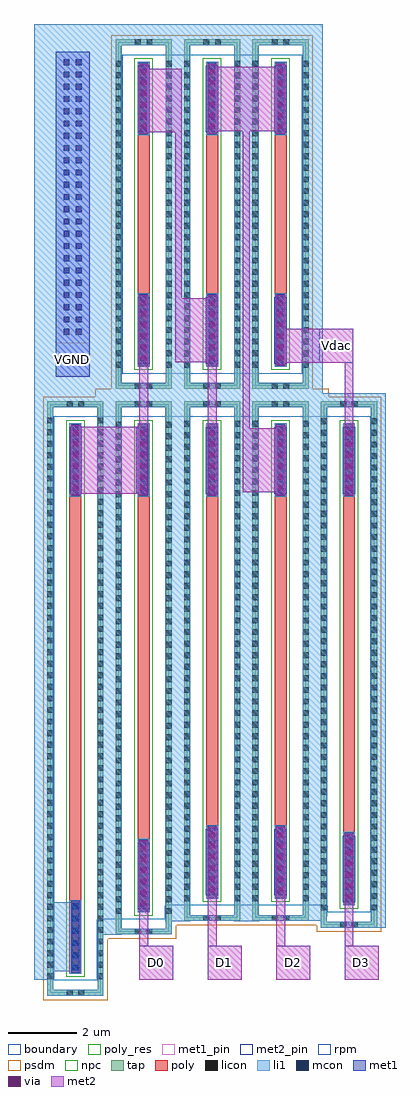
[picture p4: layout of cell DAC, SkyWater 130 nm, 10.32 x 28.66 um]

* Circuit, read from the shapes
.subckt DAC D0 D1 D2 D3 VGND Vdac
XR1 n1 VGND VGND sky130_fd_pr__res_high_po w=0.35 l=11.88
XR2 n1 D0 VGND sky130_fd_pr__res_high_po w=0.35 l=10.08
XR3 n2 n1 VGND sky130_fd_pr__res_high_po w=0.35 l=4.68
XR4 n2 D1 VGND sky130_fd_pr__res_high_po w=0.35 l=9.68
XR5 n3 n2 VGND sky130_fd_pr__res_high_po w=0.35 l=4.68
XR6 n3 D2 VGND sky130_fd_pr__res_high_po w=0.35 l=9.68
XR7 n3 Vdac VGND sky130_fd_pr__res_high_po w=0.35 l=4.68
XR8 Vdac D3 VGND sky130_fd_pr__res_high_po w=0.35 l=9.88
.ends

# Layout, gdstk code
import gdstk
lib = gdstk.Library(unit=1e-6, precision=1e-09)
def R(c, l, rs):  # rectangles x0, y0, x1, y1
    for r in rs: c.add(gdstk.rectangle(r[:2], r[2:], *l))
def A(c, l, x, y, w, h, nx, ny, dx, dy):  # array of equal rectangles
    R(c, l, [(x+i*dx, y+j*dy, x+i*dx+w, y+j*dy+h) for i in range(nx) for j in range(ny)])
tap = (65, 44)
poly_res = (66, 13)
poly = (66, 20)
licon = (66, 44)
li1 = (67, 20)
mcon = (67, 44)
met1_pin = (68, 16)
met1 = (68, 20)
via = (68, 44)
met2_pin = (69, 16)
met2 = (69, 20)
rpm = (86, 20)
psdm = (94, 20)
npc = (95, 20)
boundary = (235, 4)

sky130_fd_pr__res_high_p = lib.new_cell('sky130_fd_pr__res_high_po_0p35_AT4384')
R(sky130_fd_pr__res_high_p, tap, [(-0.825,-8.73,0.825,-8.56), (-0.825,-8.56,-0.655,8.56), (0.655,-8.56,0.825,8.56), (-0.825,8.56,0.825,8.73)])
R(sky130_fd_pr__res_high_p, poly_res, [(-0.175,-6,0.175,6)])
R(sky130_fd_pr__res_high_p, poly, [(-0.175,-8.08,0.175,8.08)])
A(sky130_fd_pr__res_high_p, licon, -0.825, -8.245, 0.17, 0.17, 1, 49, 0, 0.34)
A(sky130_fd_pr__res_high_p, licon, 0.655, -8.245, 0.17, 0.17, 1, 49, 0, 0.34)
R(sky130_fd_pr__res_high_p, licon, [(-0.255,-8.73,-0.085,-8.56), (0.085,-8.73,0.255,-8.56), (-0.095,-8,0.095,-6), (-0.095,6,0.095,8), (-0.255,8.56,-0.085,8.73), (0.085,8.56,0.255,8.73)])
R(sky130_fd_pr__res_high_p, li1, [(-0.825,-8.73,0.825,-8.56), (-0.825,-8.56,-0.655,8.56), (0.655,-8.56,0.825,8.56), (-0.175,-8.08,0.175,-5.92), (-0.175,5.92,0.175,8.08), (-0.825,8.56,0.825,8.73)])
A(sky130_fd_pr__res_high_p, mcon, -0.085, -7.985, 0.17, 0.17, 1, 6, 0, 0.36)
A(sky130_fd_pr__res_high_p, mcon, -0.085, 6.01, 0.17, 0.17, 1, 6, 0, 0.36)
R(sky130_fd_pr__res_high_p, met1, [(-0.125,-8.05,0.125,-5.945), (-0.125,5.945,0.125,8.05)])
R(sky130_fd_pr__res_high_p, rpm, [(-0.635,-8.28,0.635,8.28)])
R(sky130_fd_pr__res_high_p, psdm, [(-0.95,-8.855,0.95,8.855)])
R(sky130_fd_pr__res_high_p, npc, [(-0.27,-8.175,0.27,8.175)])
R(sky130_fd_pr__res_high_p, boundary, [(-0.74,-8.645,0.74,8.645)])

c_sky130_fd_pr__res_high_p = lib.new_cell('sky130_fd_pr__res_high_po_0p35_Z689S7')
R(c_sky130_fd_pr__res_high_p, tap, [(-0.825,-5.13,0.825,-4.96), (-0.825,-4.96,-0.655,4.96), (0.655,-4.96,0.825,4.96), (-0.825,4.96,0.825,5.13)])
R(c_sky130_fd_pr__res_high_p, poly_res, [(-0.175,-2.4,0.175,2.4)])
R(c_sky130_fd_pr__res_high_p, poly, [(-0.175,-4.48,0.175,4.48)])
A(c_sky130_fd_pr__res_high_p, licon, -0.825, -4.505, 0.17, 0.17, 1, 27, 0, 0.34)
A(c_sky130_fd_pr__res_high_p, licon, 0.655, -4.505, 0.17, 0.17, 1, 27, 0, 0.34)
R(c_sky130_fd_pr__res_high_p, licon, [(-0.255,-5.13,-0.085,-4.96), (0.085,-5.13,0.255,-4.96), (-0.095,-4.4,0.095,-2.4), (-0.095,2.4,0.095,4.4), (-0.255,4.96,-0.085,5.13), (0.085,4.96,0.255,5.13)])
R(c_sky130_fd_pr__res_high_p, li1, [(-0.825,-5.13,0.825,-4.96), (-0.825,-4.96,-0.655,4.96), (0.655,-4.96,0.825,4.96), (-0.175,-4.48,0.175,-2.32), (-0.175,2.32,0.175,4.48), (-0.825,4.96,0.825,5.13)])
A(c_sky130_fd_pr__res_high_p, mcon, -0.085, -4.385, 0.17, 0.17, 1, 6, 0, 0.36)
A(c_sky130_fd_pr__res_high_p, mcon, -0.085, 2.41, 0.17, 0.17, 1, 6, 0, 0.36)
R(c_sky130_fd_pr__res_high_p, met1, [(-0.125,-4.45,0.125,-2.345), (-0.125,2.345,0.125,4.45)])
R(c_sky130_fd_pr__res_high_p, rpm, [(-0.635,-4.68,0.635,4.68)])
R(c_sky130_fd_pr__res_high_p, psdm, [(-0.95,-5.255,0.95,5.255)])
R(c_sky130_fd_pr__res_high_p, npc, [(-0.27,-4.575,0.27,4.575)])
R(c_sky130_fd_pr__res_high_p, boundary, [(-0.74,-5.045,0.74,5.045)])

c_sky130_fd_pr__res_high_p_ = lib.new_cell('sky130_fd_pr__res_high_po_0p35_V3ZUAZ')
R(c_sky130_fd_pr__res_high_p_, tap, [(-0.825,-7.83,0.825,-7.66), (-0.825,-7.66,-0.655,7.66), (0.655,-7.66,0.825,7.66), (-0.825,7.66,0.825,7.83)])
R(c_sky130_fd_pr__res_high_p_, poly_res, [(-0.175,-5.1,0.175,5.1)])
R(c_sky130_fd_pr__res_high_p_, poly, [(-0.175,-7.18,0.175,7.18)])
A(c_sky130_fd_pr__res_high_p_, licon, -0.825, -7.225, 0.17, 0.17, 1, 43, 0, 0.34)
A(c_sky130_fd_pr__res_high_p_, licon, 0.655, -7.225, 0.17, 0.17, 1, 43, 0, 0.34)
R(c_sky130_fd_pr__res_high_p_, licon, [(-0.255,-7.83,-0.085,-7.66), (0.085,-7.83,0.255,-7.66), (-0.095,-7.1,0.095,-5.1), (-0.095,5.1,0.095,7.1), (-0.255,7.66,-0.085,7.83), (0.085,7.66,0.255,7.83)])
R(c_sky130_fd_pr__res_high_p_, li1, [(-0.825,-7.83,0.825,-7.66), (-0.825,-7.66,-0.655,7.66), (0.655,-7.66,0.825,7.66), (-0.175,-7.18,0.175,-5.02), (-0.175,5.02,0.175,7.18), (-0.825,7.66,0.825,7.83)])
A(c_sky130_fd_pr__res_high_p_, mcon, -0.085, -7.085, 0.17, 0.17, 1, 6, 0, 0.36)
A(c_sky130_fd_pr__res_high_p_, mcon, -0.085, 5.11, 0.17, 0.17, 1, 6, 0, 0.36)
R(c_sky130_fd_pr__res_high_p_, met1, [(-0.125,-7.15,0.125,-5.045), (-0.125,5.045,0.125,7.15)])
R(c_sky130_fd_pr__res_high_p_, rpm, [(-0.635,-7.38,0.635,7.38)])
R(c_sky130_fd_pr__res_high_p_, psdm, [(-0.95,-7.955,0.95,7.955)])
R(c_sky130_fd_pr__res_high_p_, npc, [(-0.27,-7.275,0.27,7.275)])
R(c_sky130_fd_pr__res_high_p_, boundary, [(-0.74,-7.745,0.74,7.745)])

c_sky130_fd_pr__res_high_p__ = lib.new_cell('sky130_fd_pr__res_high_po_0p35_GHF3PF')
R(c_sky130_fd_pr__res_high_p__, tap, [(-0.825,-7.63,0.825,-7.46), (-0.825,-7.46,-0.655,7.46), (0.655,-7.46,0.825,7.46), (-0.825,7.46,0.825,7.63)])
R(c_sky130_fd_pr__res_high_p__, poly_res, [(-0.175,-4.9,0.175,4.9)])
R(c_sky130_fd_pr__res_high_p__, poly, [(-0.175,-6.98,0.175,6.98)])
A(c_sky130_fd_pr__res_high_p__, licon, -0.825, -7.055, 0.17, 0.17, 1, 42, 0, 0.34)
A(c_sky130_fd_pr__res_high_p__, licon, 0.655, -7.055, 0.17, 0.17, 1, 42, 0, 0.34)
R(c_sky130_fd_pr__res_high_p__, licon, [(-0.255,-7.63,-0.085,-7.46), (0.085,-7.63,0.255,-7.46), (-0.095,-6.9,0.095,-4.9), (-0.095,4.9,0.095,6.9), (-0.255,7.46,-0.085,7.63), (0.085,7.46,0.255,7.63)])
R(c_sky130_fd_pr__res_high_p__, li1, [(-0.825,-7.63,0.825,-7.46), (-0.825,-7.46,-0.655,7.46), (0.655,-7.46,0.825,7.46), (-0.175,-6.98,0.175,-4.82), (-0.175,4.82,0.175,6.98), (-0.825,7.46,0.825,7.63)])
A(c_sky130_fd_pr__res_high_p__, mcon, -0.085, -6.885, 0.17, 0.17, 1, 6, 0, 0.36)
A(c_sky130_fd_pr__res_high_p__, mcon, -0.085, 4.91, 0.17, 0.17, 1, 6, 0, 0.36)
R(c_sky130_fd_pr__res_high_p__, met1, [(-0.125,-6.95,0.125,-4.845), (-0.125,4.845,0.125,6.95)])
R(c_sky130_fd_pr__res_high_p__, rpm, [(-0.635,-7.18,0.635,7.18)])
R(c_sky130_fd_pr__res_high_p__, psdm, [(-0.95,-7.755,0.95,7.755)])
R(c_sky130_fd_pr__res_high_p__, npc, [(-0.27,-7.075,0.27,7.075)])
R(c_sky130_fd_pr__res_high_p__, boundary, [(-0.74,-7.545,0.74,7.545)])

c_sky130_fd_pr__res_high_p___ = lib.new_cell('sky130_fd_pr__res_high_po_0p35_FFK5MY')
R(c_sky130_fd_pr__res_high_p___, tap, [(-0.825,-7.73,0.825,-7.56), (-0.825,-7.56,-0.655,7.56), (0.655,-7.56,0.825,7.56), (-0.825,7.56,0.825,7.73)])
R(c_sky130_fd_pr__res_high_p___, poly_res, [(-0.175,-5,0.175,5)])
R(c_sky130_fd_pr__res_high_p___, poly, [(-0.175,-7.08,0.175,7.08)])
A(c_sky130_fd_pr__res_high_p___, licon, -0.825, -7.225, 0.17, 0.17, 1, 43, 0, 0.34)
A(c_sky130_fd_pr__res_high_p___, licon, 0.655, -7.225, 0.17, 0.17, 1, 43, 0, 0.34)
R(c_sky130_fd_pr__res_high_p___, licon, [(-0.255,-7.73,-0.085,-7.56), (0.085,-7.73,0.255,-7.56), (-0.095,-7,0.095,-5), (-0.095,5,0.095,7), (-0.255,7.56,-0.085,7.73), (0.085,7.56,0.255,7.73)])
R(c_sky130_fd_pr__res_high_p___, li1, [(-0.825,-7.73,0.825,-7.56), (-0.825,-7.56,-0.655,7.56), (0.655,-7.56,0.825,7.56), (-0.175,-7.08,0.175,-4.92), (-0.175,4.92,0.175,7.08), (-0.825,7.56,0.825,7.73)])
A(c_sky130_fd_pr__res_high_p___, mcon, -0.085, -6.985, 0.17, 0.17, 1, 6, 0, 0.36)
A(c_sky130_fd_pr__res_high_p___, mcon, -0.085, 5.01, 0.17, 0.17, 1, 6, 0, 0.36)
R(c_sky130_fd_pr__res_high_p___, met1, [(-0.125,-7.05,0.125,-4.945), (-0.125,4.945,0.125,7.05)])
R(c_sky130_fd_pr__res_high_p___, rpm, [(-0.635,-7.28,0.635,7.28)])
R(c_sky130_fd_pr__res_high_p___, psdm, [(-0.95,-7.855,0.95,7.855)])
R(c_sky130_fd_pr__res_high_p___, npc, [(-0.27,-7.175,0.27,7.175)])
R(c_sky130_fd_pr__res_high_p___, boundary, [(-0.74,-7.645,0.74,7.645)])

dac = lib.new_cell('DAC')
R(dac, li1, [(-7.225,-10.38,-6.66,-10.13), (-7.225,-10.13,-5.885,-8.105), (-5.375,-9.06,-4.655,6.43), (2.665,-8.855,3.1,6.43), (-3.375,-8.66,-2.645,6.43), (-1.355,-8.66,-0.635,6.43), (0.66,-8.655,1.365,-8.51), (0.66,-8.51,1.375,6.43), (-7.225,-8.105,-6.66,6.43), (-7.225,6.43,3.1,6.455), (-7.225,6.455,3.095,6.84), (-7.225,6.84,1.255,7.15), (-7.225,7.15,-4.655,17.055), (-3.365,7.15,-2.645,17.055), (-1.355,7.15,-0.635,17.055), (0.66,7.15,1.255,17.055), (-7.225,17.055,1.255,17.12), (-7.225,17.12,1.25,17.685)])
A(dac, mcon, -6.36, 8.56, 0.17, 0.17, 1, 23, 0, 0.36)
A(dac, mcon, -6, 8.56, 0.17, 0.17, 1, 23, 0, 0.36)
R(dac, met1_pin, [(-6.595,7.33,-5.595,8.33)])
A(dac, met1, -2.18, 3.89, 0.36, 1.95, 3, 1, 2.01, 0)
A(dac, met1, -4.19, 7.715, 0.36, 1.95, 3, 2, 2.01, 6.795)
R(dac, met1, [(-4.19,-8.305,-3.83,-6.355), (1.84,-8.105,2.2,-6.155), (-2.18,-7.905,-1.82,-5.955), (-0.17,-7.905,0.19,-5.955), (-6.185,3.9,-5.825,5.85), (-4.235,3.9,-3.875,5.85), (-6.595,7.33,-5.595,16.865)])
A(dac, via, -4.085, -8.205, 0.15, 0.15, 1, 6, 0, 0.32)
A(dac, via, 1.945, -8.005, 0.15, 0.15, 1, 6, 0, 0.32)
A(dac, via, -2.075, -7.805, 0.15, 0.15, 1, 6, 0, 0.32)
A(dac, via, -0.065, -7.805, 0.15, 0.15, 1, 6, 0, 0.32)
A(dac, via, -2.075, 3.99, 0.15, 0.15, 3, 6, 2.01, 0.32)
A(dac, via, -6.08, 4, 0.15, 0.15, 1, 6, 0, 0.32)
A(dac, via, -4.13, 4, 0.15, 0.15, 1, 6, 0, 0.32)
A(dac, via, -4.085, 7.815, 0.15, 0.15, 3, 6, 2.01, 0.32)
A(dac, via, -4.085, 14.61, 0.15, 0.15, 3, 6, 2.01, 0.32)
A(dac, met2_pin, -4.14, -10.38, 1, 1, 4, 1, 2.01, 0)
R(dac, met2_pin, [(1.15,7.735,2.15,8.735)])
A(dac, met2, -4.14, -10.38, 1, 1, 4, 1, 2.01, 0)
R(dac, met2, [(-4.14,-9.38,-3.88,-6.305), (-2.13,-9.38,-1.87,-5.905), (-0.12,-9.38,0.145,-7.905), (1.89,-9.38,2.15,-6.105), (-0.12,-7.905,0.14,-5.905), (-2.13,3.84,-1.87,7.755), (-0.12,3.84,0.14,3.94), (1.89,3.84,2.15,7.735), (-6.135,3.85,-5.875,3.89), (-4.185,3.85,-3.925,3.89), (-6.145,3.89,-3.91,5.85), (-1.095,3.94,0.14,5.81), (-1.095,5.81,-0.895,14.54), (-0.12,5.81,0.14,5.89), (-6.145,5.85,-3.88,5.86), (-6.135,5.86,-5.875,5.9), (-4.185,5.86,-3.88,5.9), (-4.14,5.9,-3.88,9.715), (-0.12,7.665,0.14,7.735), (-0.12,7.735,2.15,8.735), (-3.09,7.755,-1.87,9.625), (-0.12,8.735,0.14,9.715), (-3.09,9.625,-2.89,14.505), (-2.13,9.625,-1.87,9.715), (-4.14,14.46,-3.88,14.505), (-2.13,14.46,-1.87,14.54), (-0.12,14.46,0.14,14.54), (-4.14,14.505,-2.89,16.375), (-2.13,14.54,0.14,16.425), (-4.14,16.375,-3.88,16.51), (-2.13,16.425,-1.87,16.51), (-0.12,16.425,0.14,16.51)])
A(dac, rpm, -3.375, -8.2, 0.74, 14.36, 3, 1, 2.01, 0)
R(dac, rpm, [(-5.38,-8.6,-4.645,6.16), (-3.375,7.42,-2.635,16.78), (-1.365,7.42,-0.625,16.78)])
A(dac, psdm, -3.06, -8.775, 0.11, 15.51, 3, 1, 2.01, 0)
R(dac, psdm, [(-5.065,-9.175,-4.96,6.735), (-5.425,6.735,1.43,6.845), (-5.425,6.845,-4.96,6.98), (-3.06,6.845,-2.95,17.355), (-1.05,6.845,-0.94,17.355), (0.96,6.845,1.43,6.98)])
dac.add(gdstk.Reference(sky130_fd_pr__res_high_p, (-6.015,-2.12)))
dac.add(gdstk.Reference(c_sky130_fd_pr__res_high_p, (-2,12.1)))
dac.add(gdstk.Reference(c_sky130_fd_pr__res_high_p, (0.01,12.1)))
dac.add(gdstk.Reference(c_sky130_fd_pr__res_high_p_, (-4.01,-1.22)))
dac.add(gdstk.Reference(c_sky130_fd_pr__res_high_p__, (-2,-1.02)))
dac.add(gdstk.Reference(c_sky130_fd_pr__res_high_p__, (0.01,-1.02)))
dac.add(gdstk.Reference(c_sky130_fd_pr__res_high_p___, (2.02,-1.12)))
dac.add(gdstk.Reference(c_sky130_fd_pr__res_high_p, (-4.01,12.1)))
dac.add(gdstk.Label('VGND', (-6.095,7.83), layer=68, texttype=5))
dac.add(gdstk.Label('D3', (2.39,-9.88), layer=69, texttype=5))
dac.add(gdstk.Label('D2', (0.38,-9.88), layer=69, texttype=5))
dac.add(gdstk.Label('D1', (-1.63,-9.88), layer=69, texttype=5))
dac.add(gdstk.Label('D0', (-3.64,-9.88), layer=69, texttype=5))
dac.add(gdstk.Label('Vdac', (1.65,8.235), layer=69, texttype=5))

lib.write_gds('DAC.gds')
